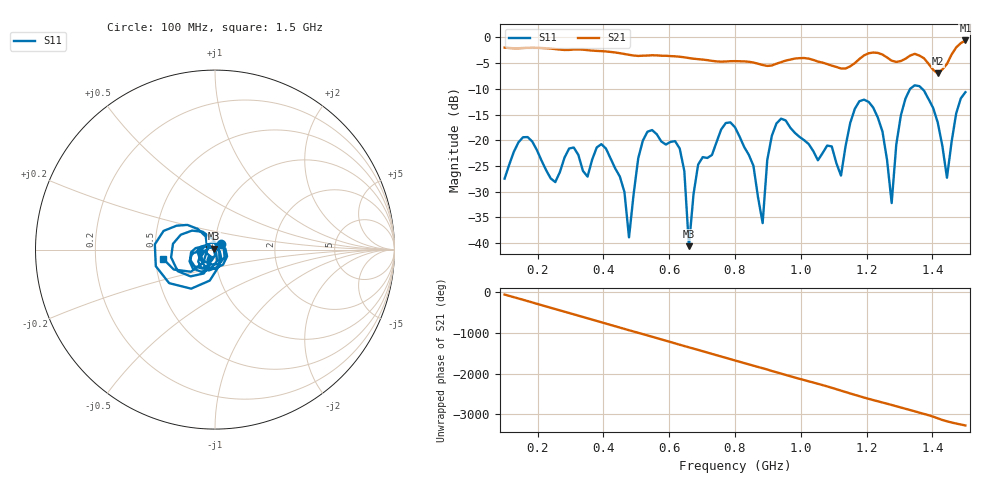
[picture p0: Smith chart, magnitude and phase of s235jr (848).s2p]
! NanoVNA-App
! Date: 2025-09-25 15:10:46
! Start: 100MHz Stop: 1,5GHz Points: 101
! S-Parameter data: F S11 S21 S12 S22
# Hz S RI R 50
!  Frequency  S11_Real  S11_Imag  S21_Real  S21_Imag  S12_Real  S12_Imag  S22_Real  S22_Imag
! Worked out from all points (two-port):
!   101 points, 100 MHz to 1.5 GHz, reference 50 ohm
!   highest |S21| = -0.58 dB at 1.5 GHz (marker M1); lowest = -7.0 dB at 1.416 GHz (marker M2)
!   |S21| within 3 dB of the highest: start of sweep to 504 MHz; 509.2 MHz to 595.2 MHz (85.97 MHz wide, 15.6 % of centre) (the widest 2 of 5)
!   lowest |S11| = -40.6 dB at 660 MHz (marker M3), VSWR 1.02, Z = 49.2 + j0.535 ohm
!   |S11| at or under -10 dB: start of sweep to 1.332 GHz; 1.369 GHz to end of sweep
!   S12 and S22 are empty: the file has one direction only
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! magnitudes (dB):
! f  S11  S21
! 100 MHz  -27.5  -2.0
! 156 MHz  -19.4  -2.0
! 338 MHz  -26.0  -2.4
! 408 MHz  -21.6  -2.7
! 478 MHz  -38.9  -3.4
! 520 MHz  -20.1  -3.5
! 576 MHz  -20.2  -3.5
! 632 MHz  -21.6  -3.7
! 660 MHz  -40.6  -4.0
! 688 MHz  -24.7  -4.2
! 800 MHz  -17.5  -4.6
! 884 MHz  -36.1  -5.3
! 926 MHz  -16.7  -5.1
! 1.038 GHz  -22.1  -4.4
! 1.122 GHz  -26.9  -6.0
! 1.206 GHz  -12.5  -3.1
! 1.248 GHz  -18.3  -3.3
! 1.276 GHz  -32.2  -4.5
! 1.332 GHz  -10.0  -3.5
! 1.416 GHz  -16.5  -7.0
! 1.444 GHz  -27.3  -5.2
! 1.5 GHz  -10.6  -0.6
